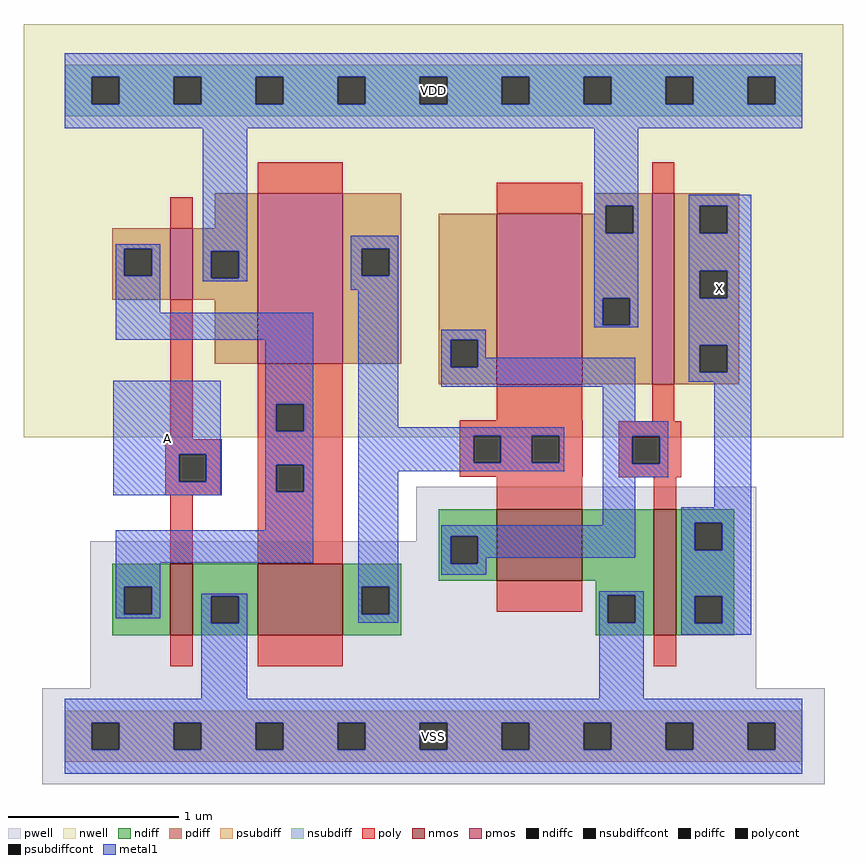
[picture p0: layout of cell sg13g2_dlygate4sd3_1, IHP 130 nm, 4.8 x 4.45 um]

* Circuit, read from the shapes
.subckt sg13g2_dlygate4sd3_1 A VDD VSS X
XM1 VSS A n1 VSS sg13_lv_nmos w=0.42u l=0.13u
XM2 n2 n1 VSS VSS sg13_lv_nmos w=0.42u l=0.5u
XM3 VSS n2 n3 VSS sg13_lv_nmos w=0.42u l=0.5u
XM4 X n3 VSS VSS sg13_lv_nmos w=0.74u l=0.13u
XM5 VDD A n1 VDD sg13_lv_pmos w=0.42u l=0.13u
XM6 n2 n1 VDD VDD sg13_lv_pmos w=1u l=0.5u
XM7 VDD n2 n3 VDD sg13_lv_pmos w=1u l=0.5u
XM8 X n3 VDD VDD sg13_lv_pmos w=1.12u l=0.13u
.ends

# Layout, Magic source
magic
tech ihp-sg13g2
magscale 1 2
<< nwell >>
rect -48 350 912 834
<< pwell >>
rect 412 228 810 292
rect 30 56 810 228
rect -26 -56 890 56
<< nmos >>
rect 124 118 150 202
rect 226 118 326 202
rect 506 182 606 266
rect 690 118 716 266
<< pmos >>
rect 124 511 150 595
rect 226 436 326 636
rect 506 412 606 612
rect 688 412 714 636
<< ndiff >>
rect 438 234 506 266
rect 438 202 452 234
rect 484 202 506 234
rect 56 175 124 202
rect 56 143 70 175
rect 102 143 124 175
rect 56 118 124 143
rect 150 164 226 202
rect 150 132 172 164
rect 204 132 226 164
rect 150 118 226 132
rect 326 175 394 202
rect 438 182 506 202
rect 606 182 690 266
rect 326 143 348 175
rect 380 143 394 175
rect 622 165 690 182
rect 326 118 394 143
rect 622 133 636 165
rect 668 133 690 165
rect 622 118 690 133
rect 716 250 784 266
rect 716 218 738 250
rect 770 218 784 250
rect 716 164 784 218
rect 716 132 738 164
rect 770 132 784 164
rect 716 118 784 132
<< pdiff >>
rect 176 595 226 636
rect 56 571 124 595
rect 56 539 70 571
rect 102 539 124 571
rect 56 511 124 539
rect 150 568 226 595
rect 150 536 172 568
rect 204 536 226 568
rect 150 511 226 536
rect 176 436 226 511
rect 326 571 394 636
rect 620 621 688 636
rect 620 612 634 621
rect 326 539 348 571
rect 380 539 394 571
rect 326 436 394 539
rect 438 464 506 612
rect 438 432 452 464
rect 484 432 506 464
rect 438 412 506 432
rect 606 589 634 612
rect 666 589 688 621
rect 606 513 688 589
rect 606 481 630 513
rect 662 481 688 513
rect 606 412 688 481
rect 714 621 790 636
rect 714 589 744 621
rect 776 589 790 621
rect 714 545 790 589
rect 714 513 744 545
rect 776 513 790 545
rect 714 458 790 513
rect 714 426 744 458
rect 776 426 790 458
rect 714 412 790 426
<< ndiffc >>
rect 452 202 484 234
rect 70 143 102 175
rect 172 132 204 164
rect 348 143 380 175
rect 636 133 668 165
rect 738 218 770 250
rect 738 132 770 164
<< pdiffc >>
rect 70 539 102 571
rect 172 536 204 568
rect 348 539 380 571
rect 452 432 484 464
rect 634 589 666 621
rect 630 481 662 513
rect 744 589 776 621
rect 744 513 776 545
rect 744 426 776 458
<< psubdiff >>
rect 0 16 864 30
rect 0 -16 32 16
rect 64 -16 128 16
rect 160 -16 224 16
rect 256 -16 320 16
rect 352 -16 416 16
rect 448 -16 512 16
rect 544 -16 608 16
rect 640 -16 704 16
rect 736 -16 800 16
rect 832 -16 864 16
rect 0 -30 864 -16
<< nsubdiff >>
rect 0 772 864 786
rect 0 740 32 772
rect 64 740 128 772
rect 160 740 224 772
rect 256 740 320 772
rect 352 740 416 772
rect 448 740 512 772
rect 544 740 608 772
rect 640 740 704 772
rect 736 740 800 772
rect 832 740 864 772
rect 0 726 864 740
<< psubdiffcont >>
rect 32 -16 64 16
rect 128 -16 160 16
rect 224 -16 256 16
rect 320 -16 352 16
rect 416 -16 448 16
rect 512 -16 544 16
rect 608 -16 640 16
rect 704 -16 736 16
rect 800 -16 832 16
<< nsubdiffcont >>
rect 32 740 64 772
rect 128 740 160 772
rect 224 740 256 772
rect 320 740 352 772
rect 416 740 448 772
rect 512 740 544 772
rect 608 740 640 772
rect 704 740 736 772
rect 800 740 832 772
<< poly >>
rect 226 636 326 672
rect 124 595 150 631
rect 124 348 150 511
rect 506 612 606 648
rect 688 636 714 672
rect 226 389 326 436
rect 226 357 248 389
rect 280 357 326 389
rect 506 370 606 412
rect 118 330 184 348
rect 118 298 134 330
rect 166 298 184 330
rect 118 282 184 298
rect 226 318 326 357
rect 226 286 248 318
rect 280 286 326 318
rect 463 352 607 370
rect 688 369 714 412
rect 463 320 479 352
rect 511 320 547 352
rect 579 320 607 352
rect 463 304 607 320
rect 649 351 722 369
rect 649 319 665 351
rect 697 319 722 351
rect 124 202 150 282
rect 226 202 326 286
rect 506 266 606 304
rect 649 303 722 319
rect 690 266 716 303
rect 506 146 606 182
rect 124 82 150 118
rect 226 82 326 118
rect 690 82 716 118
<< polycont >>
rect 248 357 280 389
rect 134 298 166 330
rect 248 286 280 318
rect 479 320 511 352
rect 547 320 579 352
rect 665 319 697 351
<< metal1 >>
rect 0 772 864 800
rect 0 740 32 772
rect 64 740 128 772
rect 160 740 224 772
rect 256 740 320 772
rect 352 740 416 772
rect 448 740 512 772
rect 544 740 608 772
rect 640 740 704 772
rect 736 740 800 772
rect 832 740 864 772
rect 0 712 864 740
rect 60 571 112 576
rect 60 539 70 571
rect 102 539 112 571
rect 60 496 112 539
rect 162 568 214 712
rect 620 621 672 712
rect 620 589 634 621
rect 666 589 672 621
rect 162 536 172 568
rect 204 536 214 568
rect 162 533 214 536
rect 335 571 391 586
rect 335 539 348 571
rect 380 539 391 571
rect 335 523 391 539
rect 60 464 291 496
rect 57 330 183 416
rect 57 298 134 330
rect 166 298 183 330
rect 57 282 183 298
rect 235 389 291 464
rect 235 357 248 389
rect 280 357 291 389
rect 235 318 291 357
rect 235 286 248 318
rect 280 286 291 318
rect 235 241 291 286
rect 60 203 291 241
rect 344 362 391 523
rect 620 513 672 589
rect 620 481 630 513
rect 662 481 672 513
rect 620 479 672 481
rect 731 621 804 634
rect 731 589 744 621
rect 776 589 804 621
rect 731 545 804 589
rect 731 513 744 545
rect 776 513 804 545
rect 441 464 493 476
rect 441 432 452 464
rect 484 443 493 464
rect 731 458 804 513
rect 484 432 668 443
rect 441 409 668 432
rect 731 426 744 458
rect 776 426 804 458
rect 731 415 804 426
rect 630 369 668 409
rect 344 352 585 362
rect 344 320 479 352
rect 511 320 547 352
rect 579 320 585 352
rect 344 310 585 320
rect 630 351 707 369
rect 630 319 665 351
rect 697 319 707 351
rect 60 175 112 203
rect 60 143 70 175
rect 102 143 112 175
rect 344 175 391 310
rect 630 303 707 319
rect 630 247 668 303
rect 761 268 804 415
rect 441 234 668 247
rect 441 202 452 234
rect 484 209 668 234
rect 722 250 804 268
rect 722 218 738 250
rect 770 218 804 250
rect 484 202 494 209
rect 441 189 494 202
rect 60 138 112 143
rect 160 164 214 167
rect 160 132 172 164
rect 204 132 214 164
rect 344 143 348 175
rect 380 143 391 175
rect 344 133 391 143
rect 626 165 678 170
rect 626 133 636 165
rect 668 133 678 165
rect 160 44 214 132
rect 626 44 678 133
rect 722 164 804 218
rect 722 132 738 164
rect 770 132 804 164
rect 722 119 804 132
rect 0 16 864 44
rect 0 -16 32 16
rect 64 -16 128 16
rect 160 -16 224 16
rect 256 -16 320 16
rect 352 -16 416 16
rect 448 -16 512 16
rect 544 -16 608 16
rect 640 -16 704 16
rect 736 -16 800 16
rect 832 -16 864 16
rect 0 -44 864 -16
<< labels >>
flabel metal1 s 57 282 183 416 0 FreeSans 400 0 0 0 A
port 2 nsew
flabel metal1 s 0 712 864 800 0 FreeSans 400 0 0 0 VDD
port 3 nsew
flabel metal1 s 0 -44 864 44 0 FreeSans 400 0 0 0 VSS
port 4 nsew
flabel metal1 s 731 415 804 634 0 FreeSans 400 0 0 0 X
port 5 nsew
<< properties >>
string FIXED_BBOX 0 0 864 756
string GDS_END 57084
string GDS_FILE ../gds/controller.gds
string GDS_START 50868
<< end >>
